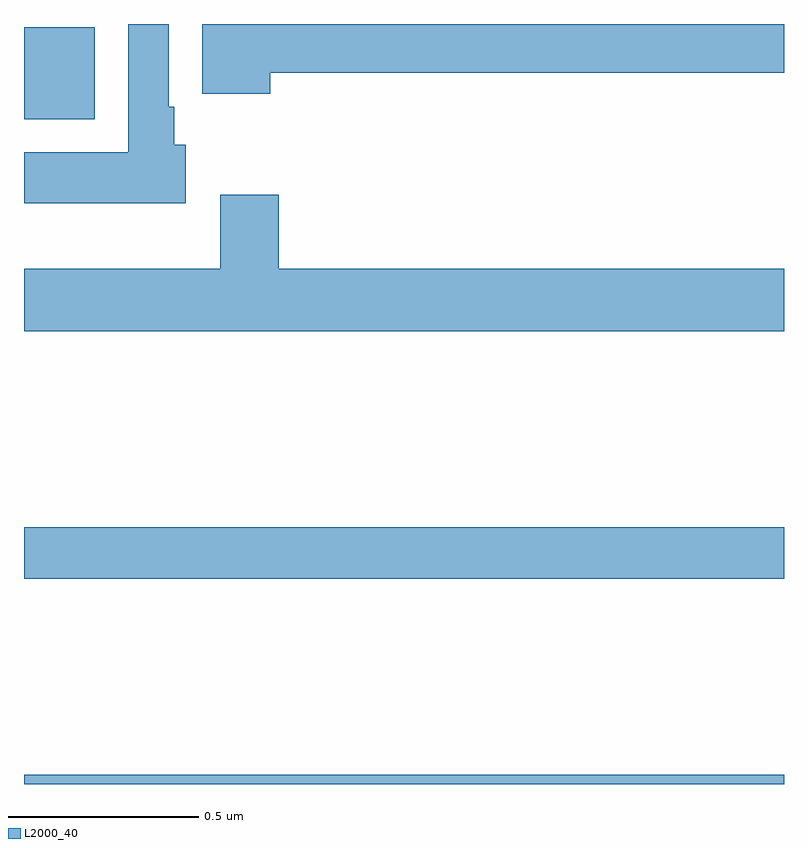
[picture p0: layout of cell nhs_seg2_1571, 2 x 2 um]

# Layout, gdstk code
import gdstk
lib = gdstk.Library(unit=1e-6, precision=1e-09)
def R(c, l, rs):  # rectangles x0, y0, x1, y1
    for r in rs: c.add(gdstk.rectangle(r[:2], r[2:], *l))
def P(c, l, *ps):  # polygons
    for p in ps: c.add(gdstk.Polygon(p, *l))
L2000_40 = (2000, 40)

nhs_seg2_1571 = lib.new_cell('nhs_seg2_1571')
R(nhs_seg2_1571, L2000_40, [(130,623.8,132,623.824), (130,624.34,132,624.476), (130,625.55,130.186,625.792)])
P(nhs_seg2_1571, L2000_40, [(130.426,625.482),(130.396,625.482),(130.396,625.582),(130.381,625.582),(130.381,625.8),(130.274,625.8),(130.274,625.462),(130,625.462),(130,625.328),(130.426,625.328)],
  [(130.648,625.672),(132,625.672),(132,625.8),(130.469,625.8),(130.469,625.616),(130.648,625.616)],
  [(132,625.156),(130.67,625.156),(130.67,625.351),(130.517,625.351),(130.517,625.156),(130,625.156),(130,624.992),(132,624.992)])

lib.write_gds('nhs_seg2_1571.gds')
